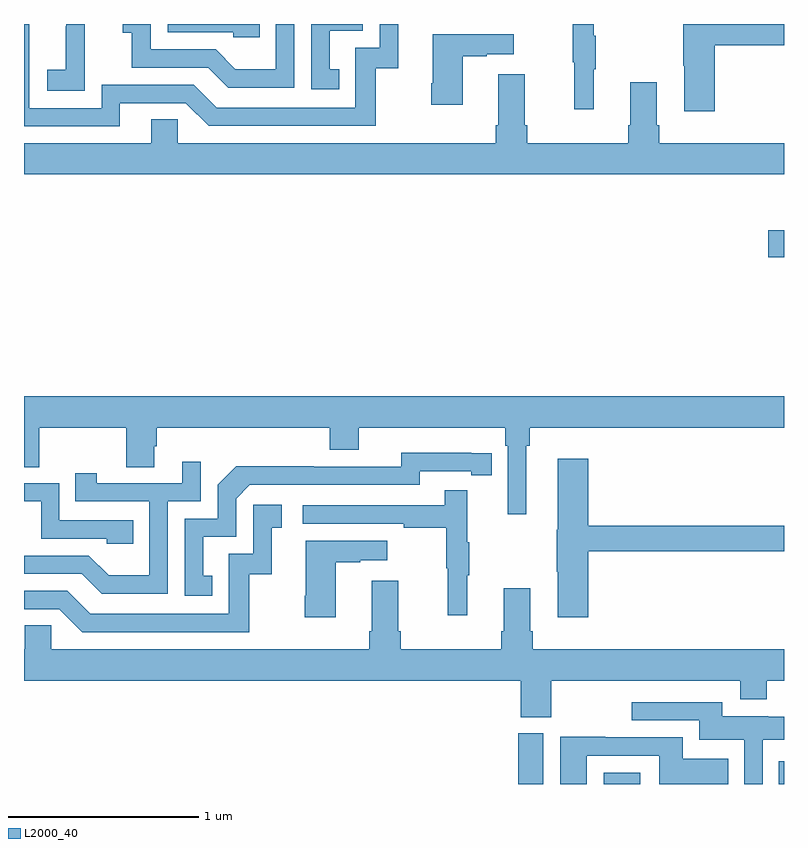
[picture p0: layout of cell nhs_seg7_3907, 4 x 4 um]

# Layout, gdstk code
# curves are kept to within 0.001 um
import gdstk
lib = gdstk.Library(unit=1e-6, precision=1e-09)
def R(c, l, rs):  # rectangles x0, y0, x1, y1
    for r in rs: c.add(gdstk.rectangle(r[:2], r[2:], *l))
def P(c, l, *ps):  # polygons
    for p in ps: c.add(gdstk.Polygon(p, *l))
L2000_40 = (2000, 40)

nhs_seg7_3907 = lib.new_cell('nhs_seg7_3907')
R(nhs_seg7_3907, L2000_40, [(359.6,1072,359.734,1072.267), (360.051,1072,360.244,1072.06), (360.973,1072,361,1072.12), (360.918,1074.773,361,1074.915)])
P(nhs_seg7_3907, L2000_40, [(358.658,1075.761),(358.609,1075.761),(358.609,1075.965),(358.782,1075.965),(358.782,1076),(358.512,1076),(358.512,1075.656),(358.658,1075.656)],
  [(359.999,1075.763),(360.01,1075.763),(360.01,1075.937),(359.999,1075.937),(359.999,1076),(359.889,1076),(359.889,1075.8),(359.896,1075.8),(359.896,1075.551),(359.999,1075.551)],
  [(360.635,1075.888),(361,1075.888),(361,1076),(360.469,1076),(360.469,1075.78),(360.476,1075.78),(360.476,1075.542),(360.635,1075.542)],
  [(358.241,1076),(357.756,1076),(357.756,1075.956),(358.101,1075.956),(358.101,1075.929),(358.241,1075.929)],
  [(357.321,1075.855),(357.32,1075.855),(357.32,1076),(357.222,1076),(357.222,1075.988),(357.221,1075.988),(357.221,1075.759),(357.123,1075.759),(357.123,1075.649),(357.321,1075.649)],
  [(357.505,1075.584),(357.852,1075.584),(357.972,1075.464),(358.852,1075.464),(358.852,1075.767),(358.97,1075.767),(358.97,1076),(358.872,1076),(358.872,1075.875),(358.743,1075.875),(358.743,1075.56),(358.014,1075.56),(357.894,1075.68),(357.408,1075.68),(357.408,1075.557),(357.027,1075.557),(357.027,1076),(357,1076),(357,1075.461),(357.505,1075.461)],
  [(358.422,1076),(358.326,1076),(358.326,1075.762),(358.112,1075.762),(358.008,1075.866),(357.666,1075.866),(357.666,1076),(357.519,1076),(357.519,1075.955),(357.568,1075.955),(357.568,1075.77),(357.971,1075.77),(358.076,1075.665),(358.422,1075.665)],
  [(359.308,1075.831),(359.435,1075.831),(359.435,1075.841),(359.578,1075.841),(359.578,1075.945),(359.15,1075.945),(359.15,1075.687),(359.143,1075.687),(359.143,1075.575),(359.308,1075.575)],
  [(361,1075.372),(360.344,1075.372),(360.344,1075.468),(360.331,1075.468),(360.331,1075.693),(360.191,1075.693),(360.191,1075.468),(360.179,1075.468),(360.179,1075.372),(359.648,1075.372),(359.648,1075.468),(359.635,1075.468),(359.635,1075.735),(359.495,1075.735),(359.495,1075.468),(359.483,1075.468),(359.483,1075.372),(357.81,1075.372),(357.81,1075.499),(357.671,1075.499),(357.671,1075.372),(357,1075.372),(357,1075.208),(361,1075.208)],
  [(359.644,1073.78),(359.663,1073.78),(359.663,1073.876),(361,1073.876),(361,1074.04),(357,1074.04),(357,1073.668),(357.081,1073.668),(357.081,1073.876),(357.538,1073.876),(357.538,1073.668),(357.685,1073.668),(357.685,1073.778),(357.698,1073.778),(357.698,1073.876),(358.61,1073.876),(358.61,1073.759),(358.762,1073.759),(358.762,1073.876),(359.534,1073.876),(359.534,1073.78),(359.547,1073.78),(359.547,1073.421),(359.644,1073.421)],
  [(357.992,1073.097),(357.943,1073.097),(357.943,1073.301),(358.116,1073.301),(358.116,1073.502),(358.188,1073.574),(359.082,1073.574),(359.082,1073.646),(359.354,1073.646),(359.354,1073.626),(359.462,1073.626),(359.462,1073.742),(358.986,1073.743),(358.986,1073.67),(358.526,1073.67),(358.526,1073.672),(358.118,1073.672),(358.02,1073.574),(358.02,1073.397),(357.846,1073.397),(357.846,1072.992),(357.992,1072.992)],
  [(359.969,1073.224),(361,1073.224),(361,1073.36),(359.969,1073.36),(359.969,1073.713),(359.81,1073.713),(359.81,1073.337),(359.803,1073.337),(359.803,1073.116),(359.81,1073.116),(359.81,1072.878),(359.969,1072.878)],
  [(357.756,1073.487),(357.93,1073.487),(357.93,1073.695),(357.833,1073.695),(357.833,1073.583),(357.382,1073.583),(357.382,1073.635),(357.271,1073.635),(357.271,1073.487),(357.66,1073.487),(357.66,1073.098),(357.446,1073.098),(357.342,1073.202),(357,1073.202),(357,1073.106),(357.305,1073.106),(357.41,1073.001),(357.756,1073.001)],
  [(357.575,1073.388),(357.186,1073.388),(357.186,1073.583),(357,1073.583),(357,1073.487),(357.09,1073.487),(357.09,1073.292),(357.435,1073.292),(357.435,1073.265),(357.575,1073.265)],
  [(359.333,1073.099),(359.344,1073.099),(359.344,1073.273),(359.333,1073.273),(359.333,1073.545),(359.215,1073.545),(359.215,1073.466),(358.467,1073.466),(358.467,1073.37),(358.999,1073.37),(358.999,1073.35),(359.223,1073.35),(359.223,1073.136),(359.23,1073.136),(359.23,1072.887),(359.333,1072.887)],
  [(358.186,1073.103),(358.304,1073.103),(358.304,1073.349),(358.357,1073.349),(358.357,1073.47),(358.206,1073.47),(358.206,1073.211),(358.077,1073.211),(358.077,1072.896),(357.348,1072.896),(357.228,1073.016),(357,1073.016),(357,1072.92),(357.186,1072.92),(357.306,1072.8),(358.186,1072.8)],
  [(358.642,1073.167),(358.769,1073.167),(358.769,1073.177),(358.912,1073.177),(358.912,1073.281),(358.484,1073.281),(358.484,1072.99),(358.477,1072.99),(358.477,1072.878),(358.642,1072.878)],
  [(359.775,1072.544),(360.77,1072.544),(360.77,1072.445),(360.91,1072.445),(360.91,1072.544),(361,1072.544),(361,1072.708),(359.678,1072.708),(359.678,1072.804),(359.665,1072.804),(359.665,1073.029),(359.525,1073.029),(359.525,1072.804),(359.513,1072.804),(359.513,1072.708),(358.982,1072.708),(358.982,1072.804),(358.969,1072.804),(358.969,1073.071),(358.829,1073.071),(358.829,1072.804),(358.817,1072.804),(358.817,1072.708),(357.144,1072.708),(357.144,1072.835),(357.005,1072.835),(357.005,1072.708),(357,1072.708),(357,1072.544),(359.615,1072.544),(359.615,1072.352),(359.775,1072.352)],
  [(360.888,1072.233),(361,1072.233),(361,1072.353),(360.917,1072.353),(360.917,1072.357),(360.676,1072.357),(360.676,1072.431),(360.198,1072.431),(360.198,1072.335),(360.554,1072.335),(360.554,1072.232),(360.792,1072.232),(360.792,1072),(360.888,1072)],
  [(359.961,1072.149),(360.344,1072.149),(360.344,1072),(360.707,1072),(360.707,1072.132),(360.466,1072.132),(360.466,1072.245),(360.058,1072.245),(360.058,1072.25),(359.822,1072.25),(359.822,1072),(359.961,1072)])

lib.write_gds('nhs_seg7_3907.gds')
